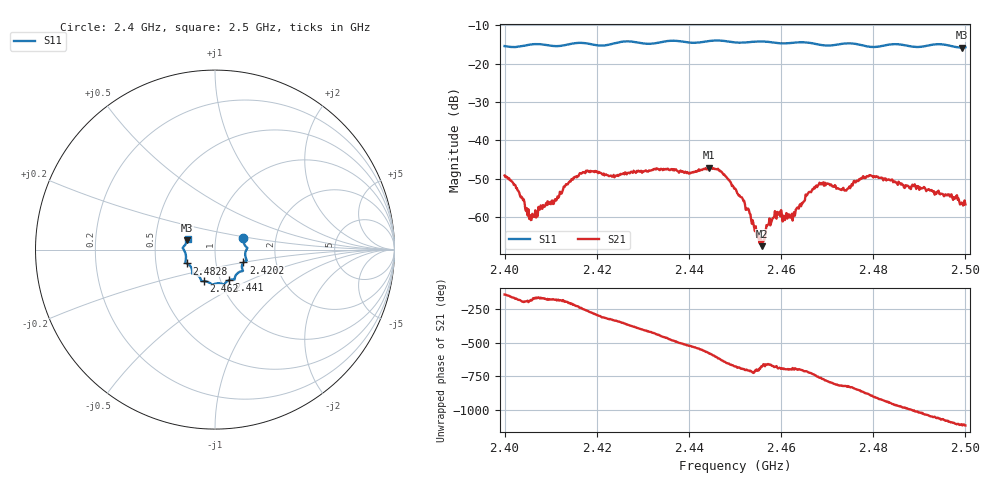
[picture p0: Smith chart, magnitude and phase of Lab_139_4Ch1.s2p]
# Hz S RI R 50
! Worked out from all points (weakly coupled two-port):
!   601 points, 2.4 GHz to 2.5 GHz, reference 50 ohm
!   highest |S21| = -47.11 dB at 2.4443 GHz (marker M1); lowest = -67.5 dB at 2.4558 GHz (marker M2)
!   lowest |S11| = -15.8 dB at 2.4993 GHz (marker M3), VSWR 1.39, Z = 36.5 + j3.87 ohm
!   |S11| at or under -10 dB: start of sweep to end of sweep
!   S12 and S22 are empty: the file has one direction only
!   S11 on the Smith chart (normalised r, x): 2.4 GHz: 1.36, +0.17; 2.4202 GHz: 1.36, -0.20; 2.441 GHz: 1.10, -0.39; 2.462 GHz: 0.83, -0.30; 2.4828 GHz: 0.72, -0.11; 2.5 GHz: 0.73, +0.09
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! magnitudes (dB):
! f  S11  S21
! 2.4 GHz  -15.4  -49.1
! 2.4027 GHz  -15.6  -52.4
! 2.4058 GHz  -15.0  -60.7
! 2.4167 GHz  -14.6  -48.7
! 2.4202 GHz  -15.2  -48.1
! 2.4333 GHz  -14.5  -47.5
! 2.441 GHz  -14.5  -48.2
! 2.4443 GHz  -14.1  -47.1
! 2.4468 GHz  -14.0  -48.1
! 2.45 GHz  -14.4  -52.5
! 2.4558 GHz  -14.2  -67.5
! 2.4572 GHz  -14.3  -61.9
! 2.4587 GHz  -14.5  -58.4
! 2.462 GHz  -14.6  -59.9
! 2.4667 GHz  -14.6  -53.1
! 2.4687 GHz  -15.1  -51.4
! 2.4742 GHz  -14.7  -53.1
! 2.4792 GHz  -15.6  -49.0
! 2.4828 GHz  -15.1  -50.4
! 2.4833 GHz  -15.0  -50.1
! 2.4993 GHz  -15.8  -56.3
! 2.5 GHz  -15.7  -56.7
